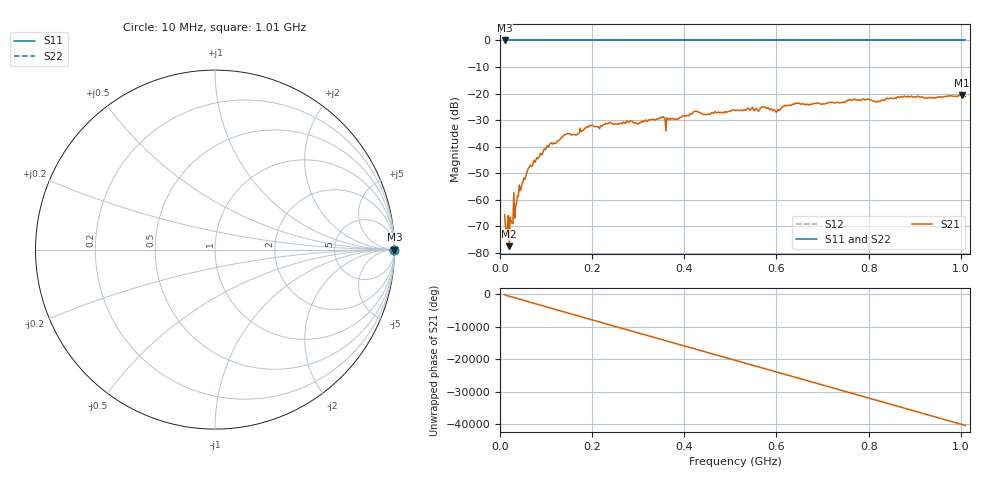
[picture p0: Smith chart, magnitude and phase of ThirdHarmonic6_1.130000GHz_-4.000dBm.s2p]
! 8/16/2025 10:58:25 AM
! C:\ANRITSUVNA\TEMP\TEMP.S2P
! CHANNEL.1
! TR.MEASUREMENT
! RAW.DATA
! RF.CORRECTION.OFF
! AVERAGING.OFF
! IF.BANDWIDTH: 5KHZ
! SWEEPTYPE:  FREQ.SWEEP(Linear)
! Reference Plane Port Info
! PORT:  PORT1  PORT2
! DISTANCE:  0  m  0  m
! TIME:  0  s  0  s
! PHASE.OFFSET:  0  deg.  0  deg.
! LOSS:  0  dB  0  dB
! REF.LOSS:  0  dB  0  dB
! REF.FREQ:  0  Hz  0  Hz
! Power Info
! POWER:  -20  dBm  -20  dBm
! EFF.POWER:  -20  dBm  -20  dBm
! SOURCE.ATTEN:  0  dB  0  dB
! TEST.ATTEN:  0  dB  0  dB
# GHZ S RI R 50.0
! FREQ.GHZ  S11RE  S11IM  S21RE  S21IM  S12RE  S12IM  S22RE  S22IM
!; PortSelection: Port_12
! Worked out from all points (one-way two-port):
!   501 points, 10 MHz to 1.01 GHz, reference 50 ohm
!   highest |S21| = -20.64 dB at 1.002 GHz (marker M1); lowest = -77.6 dB at 20 MHz (marker M2)
!   lowest |S11| = 0.0 dB at 10 MHz (marker M3)
!   |S11| at or under -10 dB: nowhere
!   |S22| runs from 0.0 to 0.0 dB; largest |S21 - S12| = 1.1
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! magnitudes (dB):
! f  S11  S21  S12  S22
! 10 MHz  0.0  -65.7  0.0  0.0
! 16 MHz  0.0  -70.9  0.0  0.0
! 20 MHz  0.0  -77.6  0.0  0.0
! 24 MHz  0.0  -68.0  0.0  0.0
! 26 MHz  0.0  -68.9  0.0  0.0
! 36 MHz  0.0  -61.2  0.0  0.0
! 40 MHz  0.0  -58.7  0.0  0.0
! 64 MHz  0.0  -47.7  0.0  0.0
! 106 MHz  0.0  -40.0  0.0  0.0
! 178 MHz  0.0  -34.1  0.0  0.0
! 344 MHz  0.0  -29.6  0.0  0.0
! 364 MHz  0.0  -29.5  0.0  0.0
! 424 MHz  0.0  -26.7  0.0  0.0
! 446 MHz  0.0  -27.9  0.0  0.0
! 510 MHz  0.0  -26.4  0.0  0.0
! 572 MHz  0.0  -25.2  0.0  0.0
! 602 MHz  0.0  -26.3  0.0  0.0
! 644 MHz  0.0  -23.7  0.0  0.0
! 678 MHz  0.0  -24.0  0.0  0.0
! 844 MHz  0.0  -22.0  0.0  0.0
! 1.002 GHz  0.0  -20.6  0.0  0.0
! 1.01 GHz  0.0  -21.2  0.0  0.0
